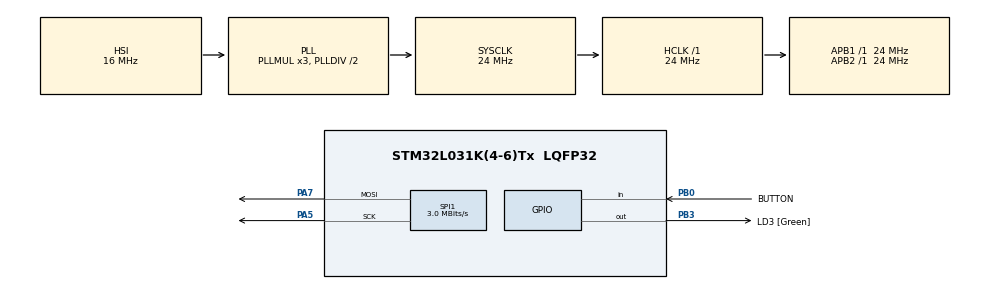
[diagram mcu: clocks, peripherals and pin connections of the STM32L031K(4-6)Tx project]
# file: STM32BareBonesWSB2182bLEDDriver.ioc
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Dma.Request0=SPI1_TX
Dma.SPI1_TX.0.Direction=DMA_MEMORY_TO_PERIPH
Dma.SPI1_TX.0.Instance=DMA1_Channel3
Dma.SPI1_TX.0.MemDataAlignment=DMA_MDATAALIGN_BYTE
Dma.SPI1_TX.0.MemInc=DMA_MINC_ENABLE
Dma.SPI1_TX.0.Mode=DMA_NORMAL
Dma.SPI1_TX.0.PeriphDataAlignment=DMA_PDATAALIGN_BYTE
Dma.SPI1_TX.0.PeriphInc=DMA_PINC_DISABLE
Dma.SPI1_TX.0.Priority=DMA_PRIORITY_LOW
Mcu.Family=STM32L0
Mcu.Name=STM32L031K(4-6)Tx
Mcu.Package=LQFP32
NVIC.DMA1_Channel2_3_IRQn=true\:0\:0\:false\:false\:true\:false\:true\:true
PA13.GPIO_Label=TMS
PA13.Mode=Serial_Wire
PA13.Signal=SYS_SWDIO
PA14.GPIO_Label=TCK
PA14.Mode=Serial_Wire
PA14.Signal=SYS_SWCLK
PA15.GPIO_Label=VCP_RX
PA15.Signal=USART2_RX
PA2.GPIO_Label=VCP_TX
PA2.Signal=USART2_TX
PA5.Mode=TX_Only_Simplex_Unidirect_Master
PA5.Signal=SPI1_SCK
PA7.Mode=TX_Only_Simplex_Unidirect_Master
PA7.Signal=SPI1_MOSI
PB0.GPIO_Label=BUTTON
PB0.GPIO_PuPd=GPIO_PULLUP
PB0.Signal=GPIO_Input
PB3.GPIO_Label=LD3 [Green]
PB3.Signal=GPIO_Output
PC14-OSC32_IN.Mode=LSE-External-Oscillator
PC14-OSC32_IN.Signal=RCC_OSC32_IN
PC15-OSC32_OUT.Mode=LSE-External-Oscillator
PC15-OSC32_OUT.Signal=RCC_OSC32_OUT
ProjectManager.HeapSize=0x200
ProjectManager.StackSize=0x400
ProjectManager.TargetToolchain=STM32CubeIDE
RCC.AHBFreq_Value=24000000
RCC.APB1Freq_Value=24000000
RCC.APB1TimFreq_Value=24000000
RCC.APB2Freq_Value=24000000
RCC.APB2TimFreq_Value=24000000
RCC.HCLKFreq_Value=24000000
RCC.HSE_VALUE=8000000
RCC.HSI16_VALUE=16000000
RCC.HSI48_VALUE=48000000
RCC.HSI_VALUE=16000000
RCC.MSI_VALUE=2097000
RCC.SYSCLKFreq_VALUE=24000000
RCC.SYSCLKSource=RCC_SYSCLKSOURCE_PLLCLK
RCC.VCOOutputFreq_Value=48000000
SPI1.BaudRatePrescaler=SPI_BAUDRATEPRESCALER_8
SPI1.CalculateBaudRate=3.0 MBits/s
SPI1.Direction=SPI_DIRECTION_2LINES
SPI1.Mode=SPI_MODE_MASTER
SPI1.VirtualType=VM_MASTER
board=NUCLEO-L031K6

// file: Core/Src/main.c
/* USER CODE BEGIN Header */
/**
  ******************************************************************************
  * @file           : main.c
  * @brief          : Main program body
  ******************************************************************************
  * @attention
  *
  * Copyright (c) 2023 STMicroelectronics.
  * All rights reserved.
  *
  * This software is licensed under terms that can be found in the LICENSE file
  * in the root directory of this software component.
  * If no LICENSE file comes with this software, it is provided AS-IS.
  *
  ******************************************************************************
  */
/* USER CODE END Header */
#include "main.h"

/* USER CODE BEGIN PD */
#define GAMEBOARDSIZE 30 /*How many pixels makes up a row*/
#define NUMLEDS 300 /*Total number of LEDs*/

#define GS_DEFAULT 0 /*Becomes GS_LEVELDISPLAY*/
#define GS_PLAYLEVEL 1
#define GS_WINNER 2
#define GS_LOSER 3
#define GS_BEATGAME 4
#define GS_LEVELDISPLAY 5
#define GS_LEVELSELECT 6
#define GS_LOSTGAME 7

#define MAX_LEVEL 25	//Should include winner state
#define SHUFFLE_LEVELS 1

/* USER CODE END PD */

SPI_HandleTypeDef hspi1;
DMA_HandleTypeDef hdma_spi1_tx;

/* USER CODE BEGIN PV */
uint8_t spiBuff[(300*9)+2];	//Each LED uses 9 bytes of info.  pad 1 byte on both ends to make sure everything starts and ends with 0
volatile uint8_t dmaTransferComplete = 1;	//If 0, we're in the middle of a transmission
uint8_t debugColor = 0;

double theta = 0;	//Used for animating the lights

int level = 0;		//Starting level
uint8_t levelOrder[MAX_LEVEL];

int currentLevelSelection = 0;	//Used for level select page
int maxLevel = MAX_LEVEL;	//The highest level that can be selected during level select
const int startingLives = 10;		//Fixed number.  How many lives you start with at the beginning of the game
int livesRemaining = startingLives;	//After these are used up, you lose!
int livesDelta = 0;					//How much to adjust lives by on the level display screen animation
int livesGainedOnPerfectLevel = 2;	//If you don't mess up, gain this many lives

uint8_t forgivingMode = 1;		//If set, then the game slows down every time you lose to a level

int gameState = GS_LEVELDISPLAY;	//0= Display Level
int levelFrameNum = 0;	//Increments with each frame, reset when game state changes
int prevTarget = 0;
int cheated = 0;		//Cheating is when you do level select.  If you win while cheating, the victory screen shows red
int levelAttempts = 0;	//How many times did the player try to beat this level?
int levelExtraTime = 0;	//Extra frames before resetting the level
uint32_t pseudoRandomSeed = 1;

int target = 0;	//Current moving pixel
uint8_t targetIsLinear = 0;	//Show target as a bar on the loser screen
uint8_t targetIsMonotonic = 0;	//Show target uint monotonic coordinate system instead of zig-zag
int goal = 0;	//Goal pixel

//Generic global level variables
uint8_t posX = 0;
uint8_t posY = 0;
int16_t dir = 0;
int16_t cooldown = 0;
int16_t speed = 0;

int buttonIdleCounter = 0;
uint8_t buttonDown = 0;	//Is the button currently being held down
uint8_t buttonPressed = 0;	//When the button transitions from not pressed to pressed
uint8_t prevButtonDown = 0;	//Used for calculating buttonPressed

uint8_t bombPositions[30];	//For the level_bombDrop
uint8_t gameboard[300];	//Misc buffer different levels
int bombsPlanted = 0;

//Snake variables
int snakeX = 0;
int snakeY = 0;
int snakeDir = 0;	//0=up, 1=right, 2=down, 3=left
int snakeLength = 0;

//Bucket Drop variables
double yVel = 0;
double ballY = 9;
double prevY = 9;
uint8_t applyGravity = 0;
int ballsScored = 0;

//Stacker variables
uint8_t stackerRowWidth[30];	//width of row
uint8_t stackerRowOffset[30];	//x pixel coordinate of row
uint8_t animateButtonPress = 0;	//If 1, highlight the blocks we lost

//Level Select variables
uint8_t levelSelectButtonPress = 0;

const HALFBOARDSIZE = (GAMEBOARDSIZE/2);
const CENTER_PX = ((GAMEBOARDSIZE/2)); /*How many pixels represents the center*/

/* USER CODE END PV */

void SystemClock_Config(void);
static void MX_GPIO_Init(void);
static void MX_DMA_Init(void);
static void MX_SPI1_Init(void);
/* USER CODE BEGIN PFP */
uint32_t pseudoRand();
void appendByte(uint8_t* buff, uint32_t offset, uint8_t data);
void setColor(int, uint8_t,uint8_t,uint8_t);
void setColorMonotonic(int, uint8_t,uint8_t,uint8_t);
void setPxColor(int, int, uint8_t, uint8_t, uint8_t);
void transmit();
void HAL_SPI_TxCpltCallback(SPI_HandleTypeDef *hspi);
void drawFastLine(uint8_t,uint8_t,uint8_t,uint8_t,uint8_t,uint8_t,uint8_t);

/* USER CODE END PFP */

int main(void)
{

  /* MCU Configuration--------------------------------------------------------*/

  /* Reset of all peripherals, Initializes the Flash interface and the Systick. */
  HAL_Init();

  /* Configure the system clock */
  SystemClock_Config();

  /* Initialize all configured peripherals */
  MX_GPIO_Init();
  MX_DMA_Init();
  MX_SPI1_Init();
  /* USER CODE BEGIN 2 */

  for (int i = 0; i < 6; i++) {
	HAL_GPIO_TogglePin(LD3_GPIO_Port, LD3_Pin);
	HAL_Delay(500);
  }

  shuffleLevels();
  /* USER CODE END 2 */

  /* Infinite loop */
  /* USER CODE BEGIN WHILE */
  while (1)
  {

	  //Calculate button down and button pressed
	  buttonDown = !HAL_GPIO_ReadPin(BUTTON_GPIO_Port, BUTTON_Pin);
	  buttonPressed = buttonDown && !prevButtonDown;
	  prevButtonDown = buttonDown;	//Used for calculating next loop*/

	  switch (gameState) {
	  case GS_PLAYLEVEL:
		  playGame();
		  break;
	  case GS_WINNER:
		  winnerState();
		  break;
	  case GS_LOSER:
		  loserState();
		  break;
	  case GS_BEATGAME:
		  beatTheGame();
		  break;
	  case GS_LEVELDISPLAY:
		  levelDisplay();
		  break;
	  case GS_LEVELSELECT:
		  levelSelect();
		  break;
	  case GS_LOSTGAME:
		  lostTheGame();
		  break;
	  default:
		  gameState = GS_LEVELDISPLAY;	//Start on level display if we ever get an error
		  break;
	  }

	  levelFrameNum++;

	  //Reset the game when the button is idle for too long
	  //Don't advance on level display, winner, or loser screens though
	  //Don't punish people for watching the animations :)
	  if (gameState != GS_WINNER && gameState != GS_LOSER && gameState != GS_LEVELDISPLAY) {
		  buttonIdleCounter++;
	  }

	  //If they haven't pressed the button in a while, reset the game
	  if (buttonDown) { buttonIdleCounter = 0; }
	  if (buttonIdleCounter > 1200 + levelExtraTime) {
		  resetGame();
	  }

	  transmit();	//Send out our LED data to the LEDs so they actually light up
	  HAL_Delay(10);

	  if (forgivingMode && gameState==GS_PLAYLEVEL) {
		  HAL_Delay(levelAttempts * 2);	//Extra time per frame slower every time you lose
	  }

    /* USER CODE END WHILE */

  }
}

void SystemClock_Config(void)
{
  RCC_OscInitTypeDef RCC_OscInitStruct = {0};
  RCC_ClkInitTypeDef RCC_ClkInitStruct = {0};

  /** Configure the main internal regulator output voltage
  */
  __HAL_PWR_VOLTAGESCALING_CONFIG(PWR_REGULATOR_VOLTAGE_SCALE1);

  /** Initializes the RCC Oscillators according to the specified parameters
  * in the RCC_OscInitTypeDef structure.
  */
  RCC_OscInitStruct.OscillatorType = RCC_OSCILLATORTYPE_HSI;
  RCC_OscInitStruct.HSIState = RCC_HSI_ON;
  RCC_OscInitStruct.HSICalibrationValue = RCC_HSICALIBRATION_DEFAULT;
  RCC_OscInitStruct.PLL.PLLState = RCC_PLL_ON;
  RCC_OscInitStruct.PLL.PLLSource = RCC_PLLSOURCE_HSI;
  RCC_OscInitStruct.PLL.PLLMUL = RCC_PLLMUL_3;
  RCC_OscInitStruct.PLL.PLLDIV = RCC_PLLDIV_2;
  if (HAL_RCC_OscConfig(&RCC_OscInitStruct) != HAL_OK)
  {
    Error_Handler();
  }

  /** Initializes the CPU, AHB and APB buses clocks
  */
  RCC_ClkInitStruct.ClockType = RCC_CLOCKTYPE_HCLK|RCC_CLOCKTYPE_SYSCLK
                              |RCC_CLOCKTYPE_PCLK1|RCC_CLOCKTYPE_PCLK2;
  RCC_ClkInitStruct.SYSCLKSource = RCC_SYSCLKSOURCE_PLLCLK;
  RCC_ClkInitStruct.AHBCLKDivider = RCC_SYSCLK_DIV1;
  RCC_ClkInitStruct.APB1CLKDivider = RCC_HCLK_DIV1;
  RCC_ClkInitStruct.APB2CLKDivider = RCC_HCLK_DIV1;

  if (HAL_RCC_ClockConfig(&RCC_ClkInitStruct, FLASH_LATENCY_1) != HAL_OK)
  {
    Error_Handler();
  }
}

static void MX_SPI1_Init(void)
{

  /* SPI1 parameter configuration*/
  hspi1.Instance = SPI1;
  hspi1.Init.Mode = SPI_MODE_MASTER;
  hspi1.Init.Direction = SPI_DIRECTION_2LINES;
  hspi1.Init.DataSize = SPI_DATASIZE_8BIT;
  hspi1.Init.CLKPolarity = SPI_POLARITY_LOW;
  hspi1.Init.CLKPhase = SPI_PHASE_1EDGE;
  hspi1.Init.NSS = SPI_NSS_SOFT;
  hspi1.Init.BaudRatePrescaler = SPI_BAUDRATEPRESCALER_8;
  hspi1.Init.FirstBit = SPI_FIRSTBIT_MSB;
  hspi1.Init.TIMode = SPI_TIMODE_DISABLE;
  hspi1.Init.CRCCalculation = SPI_CRCCALCULATION_DISABLE;
  hspi1.Init.CRCPolynomial = 7;
  if (HAL_SPI_Init(&hspi1) != HAL_OK)
  {
    Error_Handler();
  }

}

static void MX_DMA_Init(void)
{

  /* DMA controller clock enable */
  __HAL_RCC_DMA1_CLK_ENABLE();

  /* DMA interrupt init */
  /* DMA1_Channel2_3_IRQn interrupt configuration */
  HAL_NVIC_SetPriority(DMA1_Channel2_3_IRQn, 0, 0);
  HAL_NVIC_EnableIRQ(DMA1_Channel2_3_IRQn);

}

static void MX_GPIO_Init(void)
{
  GPIO_InitTypeDef GPIO_InitStruct = {0};

  /* GPIO Ports Clock Enable */
  __HAL_RCC_GPIOC_CLK_ENABLE();
  __HAL_RCC_GPIOA_CLK_ENABLE();
  __HAL_RCC_GPIOB_CLK_ENABLE();

  /*Configure GPIO pin Output Level */
  HAL_GPIO_WritePin(LD3_GPIO_Port, LD3_Pin, GPIO_PIN_RESET);

  /*Configure GPIO pins : VCP_TX_Pin VCP_RX_Pin */
  GPIO_InitStruct.Pin = VCP_TX_Pin|VCP_RX_Pin;
  GPIO_InitStruct.Mode = GPIO_MODE_AF_PP;
  GPIO_InitStruct.Pull = GPIO_NOPULL;
  GPIO_InitStruct.Speed = GPIO_SPEED_FREQ_VERY_HIGH;
  GPIO_InitStruct.Alternate = GPIO_AF4_USART2;
  HAL_GPIO_Init(GPIOA, &GPIO_InitStruct);

  /*Configure GPIO pin : BUTTON_Pin */
  GPIO_InitStruct.Pin = BUTTON_Pin;
  GPIO_InitStruct.Mode = GPIO_MODE_INPUT;
  GPIO_InitStruct.Pull = GPIO_PULLUP;
  HAL_GPIO_Init(BUTTON_GPIO_Port, &GPIO_InitStruct);

  /*Configure GPIO pin : LD3_Pin */
  GPIO_InitStruct.Pin = LD3_Pin;
  GPIO_InitStruct.Mode = GPIO_MODE_OUTPUT_PP;
  GPIO_InitStruct.Pull = GPIO_NOPULL;
  GPIO_InitStruct.Speed = GPIO_SPEED_FREQ_LOW;
  HAL_GPIO_Init(LD3_GPIO_Port, &GPIO_InitStruct);

}

/* USER CODE BEGIN 4 */

void winnerState() {
	clearScreen(0,32,0);	//Fill screen green

	//If perfect round, draw blue border
	if (levelAttempts == 0) {
		for (int x = 0; x < 10; x++) {
			setPxColor(x,0,0,0,32);	//Bottom border
			setPxColor(x,29,0,0,32);	//Top border
		}
		for (int y = 0; y < 30; y++) {
			setPxColor(0,y,0,0,32);		//Left border
			setPxColor(9,y,0,0,32);		//Right border
		}
	}

	//After 50 frames, clear the screen pixel by pixel
	/*if (levelFrameNum > 50) {
		for (int i = 0; i < (levelFrameNum - 50)*3; i++) {
			setColorMonotonic(i,0,0,0);
		}
	}*/

	//After 30 frames, make the screen sparkle
	if (levelFrameNum > 30) {
		//Frame 30 = 100% solid, frame 150 = 0% solid
		int percentVisible = levelFrameNum - 30;
		percentVisible = (percentVisible * 100) / (150-30); //Returns 0-100 int

		for (int i = 0; i < 300; i++) {
			if (pseudoRand() % 100 > percentVisible) {
				setColor(i,0,32,0);
			} else {
				setColor(i,0,0,0);
			}
		}
	}

	if (levelFrameNum >= 50*3) {
		level++;
		theta = 0;	//Make sure they can't just hold down the button to win
		gameState = 0;	//Level display (next level)
		levelFrameNum = 0;	//Reset state counter
		levelExtraTime = 0;	//Some levels require extra time before resetting the game

		//Did they get it on their first try?  Give bonus levels
		livesDelta = 0;
		if (levelAttempts == 0) {
			livesDelta += livesGainedOnPerfectLevel;
		}

		if (levelAttempts == 1) {
			//livesDelta += 1;
		}

		levelAttempts = 0;	//Reset level attempt counter
	}
}

//Start the game over
void resetGame() {
	buttonIdleCounter = 0;
	gameState = 0;
	levelFrameNum = 0;
	level = 0;
	cheated = 0;
	livesRemaining = startingLives;
	livesDelta = 0;
	levelAttempts = 0;

	shuffleLevels();
}

//Shuffle the order of the levels, grouped by difficulty
void shuffleLevels() {
	for (uint8_t i = 0; i < MAX_LEVEL; i++) {
		levelOrder[i] = i;	//Assing a 1-to-1 mapping
	}

	if (SHUFFLE_LEVELS) {
		shuffleLevelSubset(0,4);
		shuffleLevelSubset(5,11);
		shuffleLevelSubset(12,13);
		shuffleLevelSubset(14,19);
		shuffleLevelSubset(20,24);
	}
}

//Shuffle a subsection of the levels, starting at startIndex, ending at endIndex(inclusive)
void shuffleLevelSubset(startIndex,endIndex) {
	uint8_t range = (endIndex - startIndex)+1;

	for (uint8_t i = startIndex; i <= endIndex; i++) {
		//Swap this with a different position
		uint8_t j = (pseudoRand() % range) + startIndex;
		uint8_t temp = levelOrder[j];
		levelOrder[j] = levelOrder[i];
		levelOrder[i] = temp;
	}
}

void loserState() {

	int red = 32;
	//if (levelFrameNum % 50 < 10) { red = 0; }	//Flash border lights

	//Fade red away during frames 75->100
	if (levelFrameNum > 75) {
		red -= (levelFrameNum - 75) * 2;
		if (red < 0) { red = 0; }
	}

	//Clear the screen
	clearScreen(0,0,0);

	for (int x = 0; x < 10; x++) {
		setPxColor(x,0,red,0,0);	//Bottom border
		setPxColor(x,29,red,0,0);	//Top border
	}

	for (int y = 0; y < 30; y++) {
		setPxColor(0,y,red,0,0);	//Left border
		setPxColor(9,y,red,0,0);	//Right border
	}

	//Show goal and target pixels/lines
	if (goal < 0)     { goal   = 0; }
	if (goal > 299)   { goal   = 299; }
	if (target < 0)   { target = 0; }
	if (target > 299) { target = 299; }

	if (targetIsLinear) {
		//Show target and goal as a line that goes across the screen
		for (int x = 1; x < 9; x++) {
			setPxColor(x,goal,64,64,64);
			setPxColor(x,target,0,0,64);
		}
	} else {
		//Show target and goal as a single pixel
		if (targetIsMonotonic) {
			//Show target and goal using monotonic coordinate system
			setColorMonotonic(goal,64,64,64);
			setColorMonotonic(target,0,0,64);
		} else {
			//Show target and goal using zig-zag coordinate system
			setColor(goal,64,64,64);
			setColor(target,0,0,64);
		}
	}

	//if (buttonDown) {
	//	levelFrameNum += 2;	//Go 3x the speed if user is holding button
	//}

	//End of animation.  Move on to level display
	if (levelFrameNum >= 100) {
		livesDelta = -1;	//Lose one life on the next screen

		//level = 0;
		gameState = 0;	//Level Display
		levelFrameNum = 0;	//Reset level frame counter
		levelAttempts++;	//Used for deciding if we should award bonus lives
	}

	//Special case, go to level select
	//To enter level select, play level 1, and stop the bar all the way at the top.
	//Then, on the loser select screen, press the button 4 times
	if (level == 0 && target == 29) {
		if (buttonPressed) {
			levelSelectButtonPress++;

			if (levelSelectButtonPress >= 4) {
				gameState = 6;	//Level select screen
				levelFrameNum = 0;
			}

			HAL_Delay(10);	//Debounce button
		}
	}
}

void levelDisplay() {

	//Level display takes 100 frames to show lives, 10 frames per level, plus 150 frames pause
	int frameTime = 100 + (10*level) + 150;

	int lightupAmount = 0;	//Extra light up amount for when the user holds the button

	//Start the level after the animation is done
	if (levelFrameNum >= frameTime) {

		//Wait for button to be unpressed
		if (!buttonDown) {
			theta = 0;
			gameState = 1;
			levelFrameNum = 0;

		} else {
			lightupAmount = 32;	//Make the pixels a different color to show we're ready for the next
		}

		//Adjust number of lives
		livesRemaining += livesDelta;
		livesDelta = 0;

		//PLAYER LOST THE GAME!  Restart at first level
		if (livesRemaining <= 0) {
			gameState = 7;	//Lost the game state
			livesRemaining = startingLives;
			levelFrameNum = 0;	//Reset frame counter (show level select again)
			return;
		}

		//Reset level select counter
		levelSelectButtonPress = 0;

		//Reset target and goal
		target = 0;
		goal = 0;
		targetIsLinear = 0;		//Display loser state as a BAR instead of dot
		targetIsMonotonic = 0;	//Display target using monotonic coordinate system instead of zig-zag
	}

	clearScreen(0,0,0);

	//Draw lives remaining at the bottom of the screen
	for (int i = 0; i < livesRemaining; i++) {
		int x = i % 10;
		int y = 29 - (i / 10);

		int brightness = levelFrameNum;
		if (levelFrameNum > 32) { brightness = 32; }

		//Show lives as yellow pixels
		setPxColor(x,y,brightness,brightness,0);
	}

	//Show animation for missing lives
	if (livesDelta < 0) {
		//Loop over each life lost
		for (int delta = -1; delta >= livesDelta; delta--) {
			int i = livesRemaining + delta;
			if (i < 0) { break; }

			int x = i % 10;
			int y = 29-(i / 10);

			//Black out the life we already made yellow
			setPxColor(x,y,0,0,0);

			//Draw in the animation of it disappearing
			int animationFrame = levelFrameNum - 20;

			//In case we're losing more than 1 life, separate them by a few frames
			animationFrame += delta * 10; //Reminder: Delta is negative
			if (animationFrame < 0) { animationFrame = 0; }

			int brightness = 32 - animationFrame;
			if (brightness < 0) { brightness = 0; }

			y -= (animationFrame / 5);
			//Smallest y allowed is 15
			if (y < 15) { y = 15; }

			setPxColor(x,y,brightness,0,0);	//Draw the new pixel in red
		}
	}

	//Show animation for new lives
	if (livesDelta > 0) {
		//Loop over each life gained
		for (int delta = 0; delta < livesDelta; delta++) {
			int i = livesRemaining + delta;

			int x = i % 10;
			int y = 29-(i / 10);

			//Draw in the animation of it appearing
			int animationFrame = levelFrameNum - 20;

			//In case we're losing more than 1 life, separate them by a few frames
			animationFrame -= delta * 10;
			if (animationFrame < 0) { animationFrame = 0; }

			int brightness = animationFrame;
			if (brightness > 32) { brightness = 32; }

			int yDelta = ((32 - animationFrame) / 5);	//Move up over the course of 32 frames
			if (yDelta < 0) { yDelta = 0; }

			y -= yDelta;

			setPxColor(x,y,0,0,brightness);	//Draw the new pixel in blue
		}
	}

	//Draw the level (only if we have lives remaining)
	//Don't draw anything until frame 50
	if (livesRemaining > 0 && levelFrameNum > 100) {
		int animationFrame = levelFrameNum - 100;
		for (int i = 0; i <= level; i++) {
			int xi = (i % 5) * 2;
			int yi = (i / 5) * 2;

			//Each level dot shows up 10 frames after the previous
			int brightness = animationFrame - (i*10);
			if (brightness < 0) { brightness = 0; }
			if (brightness > 255) { brightness = 255; }

			int x = 1 + xi;
			int y = 14 - yi;
			setPxColor(x,y,brightness,lightupAmount,brightness);
		}
	}

	//Cheating indicator
	if (cheated) {
		setColor(299,64,0,0);
	}

	//Forgiving mode indicator
	if (forgivingMode) {
		setPxColor(0,0,0,0,32);
	}

	//If the button is held, show the level faster
	if (buttonDown) {
		levelFrameNum += 4;	//Advance 5x as fast
	}

}

//To get to this screen, go to the first level and lose by stopping the pixel at the top row.
//While on the loser screen, press the button 4 times to enter into level select
void levelSelect() {

	//Init.  Reset selected level
	if (levelFrameNum == 1) {
		///Actually dont.  Pick up where you left off.
		//currentLevelSelection = 0;

		cheated = 1;	//Set cheat mode, so you can't win without me noticing
	}

	//Clear screen
	clearScreen(0,0,0);

	//Draw purple border
	for (int x = 0; x < 10; x++) {
		setPxColor(x,0 ,16,0,16);
		setPxColor(x,29,16,0,16);
	}

	//Do nothing for first 50 frames.  Just show border
	if (levelFrameNum < 50) {
		//Just draw a purple rectangle and do nothing, make sure the person doesn't accidentally press the button
		return;
	}

	for (int y = 0; y < 30; y++) {
		setColorMonotonic(y ,16,0,16);
		setColorMonotonic(299-y,16,0,16);
	}

	if (buttonPressed) {
		currentLevelSelection++;
		currentLevelSelection %= (maxLevel+1);	//0-maxLevel
	}

	//Draw the level dots
	for (int i = 0; i <= maxLevel; i++) {
		int yi = i / 5;
		int xi = i % 5;

		int r = 32;
		int g = 0;
		int b = 32;
		if (i == currentLevelSelection) {
			r = b = 0;
			g = 32;
		}

		int x = 2 + xi;
		int y = 12 + yi;
		setPxColor(x,y,r,g,b);
	}

	//After inactivity.  Start the level
	if (buttonIdleCounter > 150) {
		level = currentLevelSelection;
		levelFrameNum = 0;
		gameState = 0;	//Level display
	}

}

void beatTheGame() {
	buttonIdleCounter = 0;	//Stay on this page indefinitely

	int lineFrameCounter = (levelFrameNum/5) % 60;	//Repeats 0-60

	//Draw a green line on the sides that moves up
	//Also a cyan line on columns 2 + 7
	for (int y = 0; y < 30; y++) {
		int gVal = 0;
		if (y < lineFrameCounter) { gVal = 32; }
		if (y+30 < lineFrameCounter) { gVal = 0; }

		//Outer columns
		setColorMonotonic(y,0,gVal,0);
		setColorMonotonic(270+y,0,gVal,0);

		//Inner columns (opposite direction)
		setColorMonotonic(89-y,0,gVal,gVal);
		setColorMonotonic(239-y,0,gVal,gVal);
	}

	//Make columns 1 + 8 (and 3 + 6) pulse
	int intensity = (levelFrameNum/7) % 60;	//Different period
	if (intensity > 30) {intensity = 60 - intensity; }

	for (int y = 0; y < 30; y++) {
		setColorMonotonic(30+y,intensity,intensity,0);	//Yellow
		setColorMonotonic(240+y,intensity,intensity,0);	//Yellow
		setColorMonotonic(90+y,0,0,intensity);	//Dark Blue
		setColorMonotonic(180+y,0,0,intensity);	//Dark Blue
	}

	//Columns 4 + 5 are raining
	int rainBlotout = (levelFrameNum/5) % 4;	//Repeats 0-4, representing the dark pixels
	int rainBlotout2 = (rainBlotout + 1) % 4;
	for (int y = 0; y < 30; y++) {
		int intensity = 0;
		int intensity2 = 0;
		if (y % 4 == rainBlotout) { intensity = 16;}
		if (y % 4 == rainBlotout2) { intensity2 = 16;}
		setColorMonotonic(120+y,intensity,0,intensity);	//pink
		setColorMonotonic(150+y,intensity2,0,intensity2);	//pink
	}

	if (cheated) {
		//Show 5 rows of red on the top and bottom
		for (int y = 0; y < 5; y++) {
			for (int x = 0; x < 10; x++) {
				setPxColor(x,y,16,0,0);
			}
		}
		for (int y = 25; y < 30; y++) {
			for (int x = 0; x < 10; x++) {
				setPxColor(x,y,16,0,0);
			}
		}
	}

	//If they waited long enough and beat the game, restart
	if (levelFrameNum >= 200 && buttonDown) {
		resetGame();
	}

}

void lostTheGame() {

	clearScreen(32,0,0);	//Fill screen red

	//Cheating indicator
	if (cheated) {
		setColor(299,0,64,0);
	}

	//If they waited long enough and beat the game, restart
	if (levelFrameNum >= 200 && buttonDown) {
		resetGame();
	}

}

int min(int a, int b) {
	if (a < b) { return a; }
	return b;
}

int max(int a, int b) {
	if (a > b) { return a; }
	return b;
}

void playGame() {

      uint8_t levelId = levelOrder[level];
	  switch (levelId) {

	  /*EASY GAMES*/
	  case 0:
		  level_bars(0.02); break;			//Slow bar
	  case 1:
		  level_singleDot(0.003,0); break;	//Single pixel, slow
	  case 2:
		  level_dropBombs(0.02,3,0); break;	//Drop bombs (3x)
	  case 3:
		  level_reaction(100,200); break;   //Slow reaction game
	  case 4:
		  level_stacker(8,5,10,1,10); break; //Easy stacker

	  /*MEDIUM GAMES*/
	  case 5:
		  level_bars(0.05); break;			//Medium speed bar
	  case 6:
	  	  level_reaction(30,300); break;
	  case 7:
	  	  level_reaction(15,500); break;
	  case 8:
		  level_dropBombs(0.05,8,0); break;	//Drop bombs (8x)
	  case 9:
		  level_stacker(8,4,10,100,8); break;
	  case 10:
	  	  level_fillTheScreen(0.5); break;	//Fill the screen, slow
	  case 11:
		  level_snake(8,64); break;  //Slow Snake

	  /*HARD GAMES*/
	  case 12:
		  level_bucketDrop(1,1);break;
	  case 13:
		  level_snake(8,120); break; //Fast snake

	  /*REALLY HARD GAMES*/
	  case 14:
		  level_bucketDrop(1,2);break;
	  case 15:
		  level_crissCross(0.02); break;	//Criss cross
	  case 16:
		  level_singleDot(0.015,0); break;	//Stationary goal, really fast single pixel
	  case 17:
	  	  level_dropBombs(0.05,5,1); break;
	  case 18:
	  	  level_reaction(8,300); break;
	  case 19:
		  level_fillTheScreen(2.0); break;

	  /*FINAL CHALLENGE*/
	  case 20:
		  level_singleDot(0.015,1); break;	//Moving goal
	  case 21:
		  level_snake(3,120); break;
	  case 22:
		  level_fillTheScreen(3.0); break;
	  case 23:
		  level_bucketDrop(1,3);break;
	  case 24:
	  	  level_stacker(8,5,8,100,10); break;
	  default:
		  beatTheGame();
		  break;
	  }
}

//Row of bars that move up and down, line them up to win
void level_bars(double thetaSpeed) {
	targetIsLinear = 1;	//Show the loser state as a bar
	target = (int)(HALFBOARDSIZE * sin(theta)) + HALFBOARDSIZE;
	goal = CENTER_PX;

	  //Check button press for levels 1-3
	  if (buttonDown) {
		  if (target == goal) {
			  gameState = 2;	//Winner stage
			  levelFrameNum = 0;
		  } else {
			  gameState = 3;	//Loser stage
			  levelFrameNum = 0;
		  }
	  } else {
		  theta += thetaSpeed;
	  }

	  //Display the gameboard
	  clearScreen(0, 0, 0);
	  drawFastLine(0, goal, 9, goal, 0, 0, 128);	//Draw goal line
	  drawFastLine(0, target, 9, target, 32, 32, 32);
}

void level_singleDot(double thetaSpeed, uint8_t moveGoal) {
	  goal = 150+15;
	  target = 150 + (int)(60*sin(theta));

	  //Special case: Goal moves
	  if (moveGoal) {
		  goal += (int)7 *sin(theta*3.7);	//Move the goal
	  }

	  //Special case, there's a chance it runs so fast and skips the center dot.
	  //If it switched sides of the goal, temporarily make it the goal pixel to make it actually
	  //winnable
	  //It "warps" through the center if prevTarget is on one side of goal and "target" is on the other
	  //Sort them (min / max) and the check if
	  int targetDelta = goal - target;
	  int prevTargetDelta = goal - prevTarget;
	  int deltaMin = min(targetDelta,prevTargetDelta);
	  int deltaMax = max(targetDelta,prevTargetDelta);

	  //Did we cross sides of the goal?
	  if (deltaMin < 0 && deltaMax > 0) {
		  target = goal;
	  }

	  prevTarget = target;

	  //Check button press for levels 4+
	  if (buttonDown) {
		  if (target == goal) {
			  gameState = 2;	//Winner stage
			  levelFrameNum = 0;
		  } else {
			  gameState = 3;	//Loser stage
			  levelFrameNum = 0;
		  }
	  } else {
		  theta += thetaSpeed;
	  }

	  //Level 4+ uses entire gameboard
	  clearScreen(0,0,0);

	  //Draw center dot
	  setColor(goal,64,64,64);

	  //Draw target dot
	  setColor(target,0,0,255);
}

void level_crissCross(double thetaSpeed) {
	  if (levelFrameNum == 1) {
		  //Offset theta initial value
		  //This helps us fine-tune when these pixels actually overlap
		  theta = thetaSpeed * 1000;
		  levelExtraTime = 1200;	//Extra 1200 frames before resetting the game
	  }
	  int goalDelta = (int)4 *sin(theta*3.6);	//Move the goal left and right
	  target = (int)(HALFBOARDSIZE * sin(theta) * 0.6) + HALFBOARDSIZE;

	  //Clear the gameboard
	  clearScreen(0,0,0);

	  goal = 120+15;	//Center starting point
	  goal += 30 * goalDelta;
	  if (goalDelta % 2 == 0) { goal -= 1; }	//Avoid jitter

	  target += 120;

	  //Draw goal dot
	  setColor(goal,25,25,25);

	  //Draw target pixel
	  setColor(target,0,0,25);

	  if (goal == target) {
		  setColor(target,0,255,0);	//Make them light up green during overlap
	  }

	  //Check button press for levels 4+
	  if (buttonDown) {
		  if (target == goal) {
			  gameState = 2;	//Winner stage
			  levelFrameNum = 0;
		  } else {
			  gameState = 3;	//Loser stage
			  levelFrameNum = 0;
		  }
	  } else {
		  theta += thetaSpeed;
	  }
}

void level_fillTheScreen(double pixelsPerFrame) {

	if (levelFrameNum == 1) {
		goal = 299;

		double multiplier = pixelsPerFrame;
		while (multiplier < 1) { multiplier *= 2; }

		//Make sure the goal is divisible by our movement speed

		goal /= multiplier;	//Int math
		goal *= multiplier;	//Int math
	}

	target = (int)theta;

	  //Draw the line of blue as it grows.  Anything after blue is blank
	  for (int i = 0; i < NUMLEDS; i++) {
		  int blue = 0;
		  if (i <= target) {
			  blue = 32;
		  }
		  setColor(i,0,blue,blue);
	  }

	  //Draw the goal pixel (only if we're not on it)
	  if (target != goal) {
		  setColor(goal,64,64,64);
	  }

	  //Check button press for levels 4+
	  if (buttonDown) {
		  if (target == goal) {
			  gameState = 2;	//Winner stage
			  levelFrameNum = 0;
		  } else {
			  gameState = 3;	//Loser stage
			  levelFrameNum = 0;
		  }
	  } else {
		  theta += pixelsPerFrame;
		  while (theta >= 300) { theta -= 300; }
	  }
}

//Start with one line, if you hit it, you lose.  You need to drop more lines
void level_dropBombs(double thetaSpeed, int goalBombs, uint8_t manyStarterBombs) {

	//Default bombs (first loop only)
	if (levelFrameNum == 1) {

		//Clear bombs for bomb-drop level
		for (int i = 0; i < sizeof(bombPositions); i++) {
			bombPositions[i] = 0;
		}

		bombPositions[6]  = 1;
		bombPositions[10] = 1;
		bombPositions[14] = 1;
		bombPositions[18] = 1;
		bombPositions[22] = 1;

		bombsPlanted = 0;

		if (manyStarterBombs) {
			for (int i = 0; i < 30; i++) {
				bombPositions[i] = (i % 3) == 0;
			}
		}
	}

	target = (int)(HALFBOARDSIZE * sin(theta)) + HALFBOARDSIZE;
	goal = target;	//Show goal and target as the same line
	targetIsLinear = 1;

	  //Check button press for levels 1-3
	  if (buttonPressed) {
		  //Did they collide with a bomb?

		  if (bombPositions[target] == 1) {
			  gameState = 3;	//Loser stage
			  levelFrameNum = 0;
		  } else {
			  bombPositions[target] = 1;	//Set this as a new bomb position
			  bombsPlanted++;

			  if (bombsPlanted == goalBombs) {
				  gameState = 2;	//Winner stage
				  levelFrameNum = 0;
			  }
		  }

	  } else {
		  theta += thetaSpeed;
	  }

	  int progress = (bombsPlanted * GAMEBOARDSIZE) / goalBombs;

	  clearScreen(0,0,0);

	  //Draw a progress bar on the outer sides
	  drawFastLine(0,0,0,progress,0,32,0);	//Left Side: Green progress
	  drawFastLine(9,0,9,progress,0,32,0);	//Right Side: Green progress
	  drawFastLine(0,progress+1,0,29,10,5,5); //Left Side: Remaining progress
	  drawFastLine(9,progress+1,9,29,10,5,5); //Right Side: Remaining

	  //Now draw the bombs on the screen
	  for (uint8_t i = 0; i < 30; i++) {
		  if (!bombPositions[i]) { continue; }	//No bomb here
		  drawFastLine(2,i,7,i,64,0,0);
	  }

	  //Draw cursor
	  drawFastLine(1,target,8,target,32,32,32);
	  if (buttonDown) {
		  drawFastLine(1,target,8,target,0,0,64);	//Blue line when the button is pressed
	  }

	  /*for (int i = 0; i < 300; i++) {
		  //Repeat the gameboard every 21 pixels
		  int offset = (i % GAMEBOARDSIZE);	//Gives us an index from -10 to +10
		  int xPixel = i / 30;
		  if (offset == target) {
			  if (showYellowLine) {
				  setColorMonotonic(i,64,64,0);
			  } else {
				  setColorMonotonic(i,64,64,64);
			  }
		  } else if (bombPositions[offset] == 1) {
			  if (xPixel >= progress) {
				  setColorMonotonic(i,32,0,0);	//Red progress bar
			  } else {
				  setColorMonotonic(i,0,32,0);	//Green progress bar
			  }
		  } else {
			  setColorMonotonic(i,0,0,0);
		  }
	  }*/

}

void level_snake(int speed, int goalScore) {

	//Reset the gameboard
	if (levelFrameNum == 1) {	//First frame
		for (int i = 0; i < 300; i++) {
			gameboard[i] = 0;
		}
		snakeX = 0;
		snakeY = 2;
		snakeDir = 0;
		snakeLength = 0;
	}

	//Change direction when the button is pressed
	if (buttonPressed) {
		snakeDir++;
		snakeDir %= 4;	//0-3 are valids
	}

	//Fill in previous position
	if (snakeX >= 0 && snakeX < 10 && snakeY >= 0 && snakeY < 30) {
		gameboard[(snakeX * 30) + snakeY] = 1;
	}

	//Move
	if (levelFrameNum % speed == 0) {
		switch(snakeDir) {
			case 0:
				snakeY++; break;
			case 1:
				snakeX++; break;
			case 2:
				snakeY--; break;
			case 3:
				snakeX--; break;
		}

		snakeLength++;

		target = (snakeX*30) + snakeY;	//Calculate snake position
		targetIsMonotonic = 1;			//Use monotonic coordinate system for loser screen

		if (snakeX < 0 || snakeX > 9 || snakeY < 2 || snakeY > 27) {
			gameState = 3;	//Loser stage
			levelFrameNum = 0;
			return;
		}

		//If you hit your own self
		if (gameboard[(snakeX*30) + snakeY] == 1) {
			gameState = 3;	//Loser stage
			levelFrameNum = 0;
		}

		//If you moved enough
		if (snakeLength >= goalScore) {
			gameState = 2;	//Winner stage
			  levelFrameNum = 0;
		}
	}

	  //Display the gameboard
	  for (int i = 0; i < 300; i++) {
		  if (gameboard[i]==1) {
			  setColorMonotonic(i,32,32,0);
		  } else {
			  setColorMonotonic(i,0,0,0);
		  }
	  }

	  //Draw progress bar
	  int progress = (snakeLength * 10) / goalScore;
	  for (int x = 0; x < 10; x++) {
		  if (x >= progress) {
			  //Red
			  setPxColor(x,29,32,0,0);	//Top Row
			  setPxColor(x,28,32,0,0);	//Second-from-top row
			  setPxColor(x,0,32,0,0);		//Bottom Row
			  setPxColor(x,1,32,0,0);		//Second Row
		  } else {
			  setPxColor(x,29,0,32,0);	//Top Row
			  setPxColor(x,28,0,32,0);	//Second-from-top r
			  setPxColor(x,0,0,32,0);		//Bottom Row
			  setPxColor(x,1,0,32,0); 	//Second Row
		  }
	  }

	  //Draw cursor
	  setColorMonotonic(target,0,0,64);
}

void level_reaction(int frameTimeline, int randomWindow) {
	if (levelFrameNum == 1) {
		goal = pseudoRand() % randomWindow;	//Random start frame, from 0-200
		goal += 50;	//Offset by at least 50 frames
		target = 0;
	}

	target++;

	clearScreen(0, 0, 0);

	if (levelFrameNum < goal) {

		if (buttonDown) {
			target = 0;  //Hide target + goal pixels
			goal = 0;

			gameState = 3;	//Loser stage
			levelFrameNum = 0;
		}
	} else {
		uint8_t elapsed = levelFrameNum - goal;
		float percent = (elapsed * GAMEBOARDSIZE) / frameTimeline;
		percent = GAMEBOARDSIZE-percent;	//Start at 100, and drain to 0
		for (int y = 0; y < percent; y++) {

			//Start green and fade to red as we go lower
			drawFastLine(0,y,9,y,30-y,y,0);
		}

		if (buttonDown) {
			gameState = GS_WINNER;	//Winner stage
			levelFrameNum = 0;
		}
	}

	//If you wait too long, you lose
	if (levelFrameNum > goal + frameTimeline) {
		target = 0;  //Hide target + goal pixels
		goal = 0;

		gameState = GS_LOSER;	//Loser stage
		levelFrameNum = 0;
	}
}

void level_stacker(int startingLayers, int initialWidth, uint8_t moveSpeed, uint8_t speedIncreaseRow, uint8_t goalHeight) {
	if (levelFrameNum == 1) {
		dir = 1;
		animateButtonPress = 0;

		uint8_t centerOffset = (10-initialWidth)/2;
		for (uint8_t i = 0; i < 30; i++) {
			if (i <= startingLayers) {
				stackerRowWidth[i] = initialWidth;
				stackerRowOffset[i] = centerOffset;
			} else {
				stackerRowWidth[i] = 0;
				stackerRowOffset[i] = 0;
			}
		}

		target = startingLayers;
		speed = moveSpeed*100;	//Multiply by 100 to allow smaller changes to speed
		cooldown = speed;

		targetIsLinear = 1;	//If we lose, show target vs goal as lines
		goal = goalHeight + startingLayers;
	}

	clearScreen(0,0,0);

	//Show the goal line (as long as we're not actively trying to hit it
	if (target != goal) {
		drawFastLine(0,goal,9,goal,0,0,16);
	}

	//Draw our screen (start 8 rows up)
	for (uint8_t y = 0; y <= target; y++) {

		if (stackerRowWidth[y] > 0) {
			drawFastLine(stackerRowOffset[y],y,stackerRowOffset[y]+stackerRowWidth[y]-1,y,16,16,16);
		}

		//Draw the moving line as yellow
		if (y == target) {
			drawFastLine(stackerRowOffset[y],y,stackerRowOffset[y]+stackerRowWidth[y]-1,y,16,16,0);

			if (animateButtonPress) {
				uint8_t deadPixels = 0;

				//Draw pixels that are incorrect
				for (uint8_t x = stackerRowOffset[y]; x < stackerRowOffset[y] + stackerRowWidth[y]; x++) {
					if (x < stackerRowOffset[y-1]	//Hanging off to left
						|| x > stackerRowOffset[y-1]+stackerRowWidth[y-1]-1) { //Hanging off to right

						//Make the red pixel "fall"
						int dy = (cooldown-5000)/500;

						setPxColor(x,y,0,0,0); //Erase pixel of line

						if (dy >= -3) {
							setPxColor(x,y+dy,32,0,0);	//Draw red pixle over top (that falls)
						}
						deadPixels++;
					}
				}

				if (deadPixels == 0) { cooldown = 0; }	//Clear the "freeze" that shows dead pixels, don't pause frame
			}
		}
	}

	if (buttonPressed) {
		animateButtonPress = 1;	//Show button press animation if necessary
		cooldown = 5000;	//WARNING: If you change this, make sure to change animation too
	}

	//Every "n" frames, move our platform
	cooldown -= 100;	//adjust by 100 at a time
	if (cooldown <= 0) {

		//If we just finished the button pressing animation, advance to the next row
		if (animateButtonPress) {
			//Calculate start/end positions for both layers
					uint8_t startX = stackerRowOffset[target];
					uint8_t endX = startX+stackerRowWidth[target]-1;

					uint8_t prevStartX = stackerRowOffset[target-1];
					uint8_t prevEndX = prevStartX+stackerRowWidth[target-1]-1;

					//Calculate how many pixels are hanging off on the left side
					if (startX < prevStartX) {
						//Is our end still part of the tower
						if (endX >= prevStartX) {
							startX = prevStartX;
						} else {
							//Force a lose situation (end comes before start)
							startX = 1;
							endX = 0;
						}
					}

					if (endX > prevEndX) {
						//Is our left end still part of the tower?
						if (startX <= prevEndX) {
							endX = prevEndX;
						} else {
							//Force a lose situation (end comes before start)
							startX = 1;
							endX = 0;
						}
					}

					//Check out how much overlap we have with previous layer
					uint8_t width = (endX-startX)+1;

					//Special case, did our bar go negative
					if (startX > endX) {
						width = 0;	//We lost!  Avoid negative numbers
					}

					if (width > initialWidth) {
						width = initialWidth + 1;
					}

					//Update our layer
					stackerRowOffset[target] = startX;
					stackerRowWidth[target] = width;

					if (width == 0) {
						gameState = GS_LOSER;
						levelFrameNum = 0;
						return;
					} else if (target == goal) {
						gameState = GS_WINNER;
						levelFrameNum = 0;
						return;
					} else {
						target++;
						speed -= speedIncreaseRow;
						if (speed < 1) { speed = 1; }
						//stackerRowOffset[target] = pseudoRand() % (10-width);	//Random starting point
						stackerRowWidth[target] = width;
						stackerRowOffset[target] = 0;
					}
		}

		animateButtonPress = 0;	//Turn this off if it's on
		cooldown = speed;

		//Attempt to move the beam
		if (dir < 0 && stackerRowOffset[target] > 0) {
			stackerRowOffset[target] += dir;	//Avoid negative numbers
		}

		if (dir > 0) {
			stackerRowOffset[target] += dir;
		}
	}

	if (stackerRowOffset[target] + stackerRowWidth[target] - 1 >= 9) {
		dir = -1;
	}
	if (stackerRowOffset[target] == 0) {
		dir = 1;
	}

}

void level_bucketDrop(int bucketSpeed, int numBalls) {
	goal = 0;
	target = 0;

	//Reset game first time
	if (levelFrameNum == 1) {
		yVel = 0;
		ballY = 9;
		ballsScored = 0;
		applyGravity = 0;
	}

	//Bucket Position
	int speedDivisor = 16;
	speedDivisor -= (5 * ballsScored);
	int animationFrame = (levelFrameNum / speedDivisor) % 14;
	int bucketPosition = animationFrame;	//Frames 1-7 we just use the regular frame
	if (animationFrame > 7) { bucketPosition = 14-animationFrame; }	//Frames 8-13 we move the opposite way
	bucketPosition += 1; //Shift 1 to the right

	//Fire the ball when the button is pressed
	if (buttonPressed && applyGravity == 0) {
		yVel = 1;	//Initial velocity
		applyGravity = 1;
	}

	//If activated, apply gravity.
	if (applyGravity) {
		ballY += yVel;
		yVel -= 0.03;	//Apply gravity
	}

	//Slam into the top
	if (ballY > 29) {
		ballY = 29;
		yVel = 0;
	}

	//Lose if ball is dropped
	if (ballY < 0 || ballY > 29) {
		 gameState = 3;	//Loser stage
		 levelFrameNum = 0;
		 return;
	}

	//Clear the screen
	clearScreen(0,0,0);

	//Draw the bucket
	setPxColor(bucketPosition-1,0,32,32,32);
	setPxColor(bucketPosition,  0,32,32,32);
	setPxColor(bucketPosition+1,0,32,32,32);

	//Extend the lip upward for each ball you need to score
	for (int i = 0; i < numBalls; i++) {
		setPxColor(bucketPosition+1,1+i,32,32,32);
		setPxColor(bucketPosition-1,1+i,32,32,32);
	}

	//Draw balls already scored
	for (int i = 0; i < ballsScored; i++) {
		setPxColor(bucketPosition,1+i,0,32,0);
	}

	int rimY = 1 + numBalls;

	//Bounce off the rim
	//Did we cross y==2?
	if (prevY > rimY && ballY <= rimY) {
		if (bucketPosition == 5 || bucketPosition == 3) {
			yVel *= -.6;
			ballY = rimY;
		}
	}

	int goalY = numBalls;
	//If the ball falls in the slot, you win
	if (prevY > goalY && ballY <= goalY) {
		if (bucketPosition == 4) {
			ballsScored++;

			//Reset ball position
			ballY = 9;
			yVel = 0;
			applyGravity = 0;

			if (ballsScored >= numBalls) {
				if (bucketPosition == 4) {
					gameState = 2;	//Winner stage
					levelFrameNum = 0;
				}
			}
		}
	}

	//If the ball drops in the slot, you win
	//The "Slot" is at bucketPosition X, and y=1
	//if (ballY == 1 && bucketPosition == 4) {
	//	gameState = 2;	//Winner stage
	//	levelFrameNum = 0;
	//}

	  //Draw the ball
	  setPxColor(4,(int)ballY,0,0,64);
}

uint32_t pseudoRand() {
		pseudoRandomSeed = (pseudoRandomSeed * 1103515245 + 12345) & 0x7FFFFFFF; // Standard LCG formula
	    return pseudoRandomSeed;
}

void clearScreen(uint8_t r, uint8_t g, uint8_t b) {
	for (int i = 0; i < 300; i++) {
		setColor(i,r,g,b);
	}
}

/* HELPER METHOD: Don't call this directly
 * Use "setColor() instead"
 *
 * Convert one byte into SPI encoding and store it in the buffer.
 * One byte of actual data takes up 3 bytes of buffer space when encoded
 */
void appendByte(uint8_t* buff, uint32_t offset, uint8_t data) {
	//When encoding, we convert "0"->"100", and "1"->"110"
	//This means we have a 1X0 1X0 1X0 1X0 1X0 pattern

	//Initialize the 3 bytes we need to store, using our "1X0" pattern repeated over 3 bytes (wrapping at the end)
	uint8_t a = 0b10010010;
	uint8_t b = 0b01001001;
	uint8_t c = 0b00100100;

	//This is confusing to a human, but easy for a computer

	//Part A stores bits 7,6,5 from the original data
	a |= (data & 0b10000000) >> 1;	//Bit 7 from data gets stored into bit 6 of part A
	a |= (data & 0b01000000) >> 3;	//Bit 6 from data gets stored into bit 3 of part A
	a |= (data & 0b00100000) >> 5;	//Bit 5 from data gets stored into bit 0 of part A
	b |= (data & 0b00010000) << 1;    //Bit 4 from data gets stored into bit 5 of part B
	b |= (data & 0b00001000) >> 1;	//Bit 3 from data gets stored into bit 2 of part B
	c |= (data & 0b00000100) << 5;	//Bit 2 from data gets stored into bit 7 of part C
	c |= (data & 0b00000010) << 3;	//Bit 1 from data gets stored into bit 4 of part C
	c |= (data & 0b00000001) << 1;	//Bit 0 from data gets stored into bit 1 of part C

	buff[offset  ] = a;
	buff[offset+1] = b;
	buff[offset+2] = c;
}

/*Set the color of one specific LED to a given RGB color
 * ledNumber: a number from 0-299 of which LED you would like to change the color of
 * red/green/blue: Brightness value between 0-255 (fullly off to fully on respectively)
 *
 * Don't forget to call transmit() after you've set all your LED colors
 * to actually send out the color data to the LEDs!
 */
void setColor(int ledNumber, uint8_t red, uint8_t green, uint8_t blue) {
	//Directly write this to our SPI buffer.
	//Note that our SPI buffer starts at address 1, and each LED takes up 9 bytes of info

	int offset = (ledNumber*9)+1;

	//LED data transfer takes in data in GRB format (not RGB)
	//Offset +=3 each time because each color takes up 3 bytes when encoded into SPI format
	appendByte(spiBuff,offset, green);
	appendByte(spiBuff,offset+3, red);
	appendByte(spiBuff,offset+6, blue);
}

/*Same as set color, but it accounts for our 2D board to make sure that pixel numbers go top down
 * instead of snaking
 *
 */
void setColorMonotonic(int ledNumber, uint8_t red, uint8_t green, uint8_t blue) {
	//Directly write this to our SPI buffer.
	//Note that our SPI buffer starts at address 1, and each LED takes up 9 bytes of info

	int strip = ledNumber / GAMEBOARDSIZE;

	//Strips go up/down.  If we're on an odd number strip, invert the pixel number
	if ((strip % 2) == 1) {
		int pxNumber = (GAMEBOARDSIZE-1)-(ledNumber % GAMEBOARDSIZE);

		ledNumber = (strip * GAMEBOARDSIZE) + pxNumber;
	}

	setColor(ledNumber,red,green,blue);

}

//Origin is bottom left corner
void setPxColor(int x, int y, uint8_t red, uint8_t green, uint8_t blue) {
	//Calculate the LED ID based on the row/column.
	setColorMonotonic((x*30)+y,red,green,blue);
}

//Draw horizontal or vertical lines quickly
//cannot draw diagonal lines
//Less checks (such as line wrapping
void drawFastLine(uint8_t x1, uint8_t y1, uint8_t x2, uint8_t y2, uint8_t r, uint8_t g, uint8_t b) {

	uint16_t nextPxOffset = 1;	//Draw Vertical line
	int16_t lineLen = y2-y1;
	if (lineLen < 0) { lineLen *= -1; }	//ABS value

	if (y1==y2) {
		nextPxOffset = GAMEBOARDSIZE; //Draw horizontal line
		lineLen = x2-x1;
		if (lineLen < 0) { lineLen *= -1; }	//ABS value
	}

	uint8_t startX = min(x1,x2);
	uint8_t startY = min(y1,y2);

	uint16_t pixel = (startX*GAMEBOARDSIZE) + startY;
	for (uint8_t i = 0; i <= lineLen; i++) {
		if (pixel >= 0 && pixel < 300) {
			setColorMonotonic(pixel, r, g, b);
		}
		pixel += nextPxOffset;
	}
}

/*This sends out all the buffered data to the LEDs themself.
 * This is a non-blocking function because it uses DMA
 */
void transmit() {
	//Make sure the first and last bytes are 0 so our TX line stays low when inactive
	spiBuff[0] = 0;
	spiBuff[sizeof(spiBuff)-1] = 0;

	//Transmit buffer over SPI
	while (HAL_SPI_GetState(&hspi1) != HAL_SPI_STATE_READY) {}	//Busy wait if the previous SPI transmit is still running
	while (dmaTransferComplete == 0) {}	//Busy wait until previous transmission completes
	dmaTransferComplete = 0;	//Gets set to 1 by DMA Complete callback
	HAL_SPI_Transmit_DMA(&hspi1, spiBuff, sizeof(spiBuff));
}

void HAL_SPI_TxCpltCallback(SPI_HandleTypeDef *hspi) {
	dmaTransferComplete = 1;
	debugColor = 100;
}

/* USER CODE END 4 */

void Error_Handler(void)
{
  __disable_irq();
  while (1)
  {
  }
}
